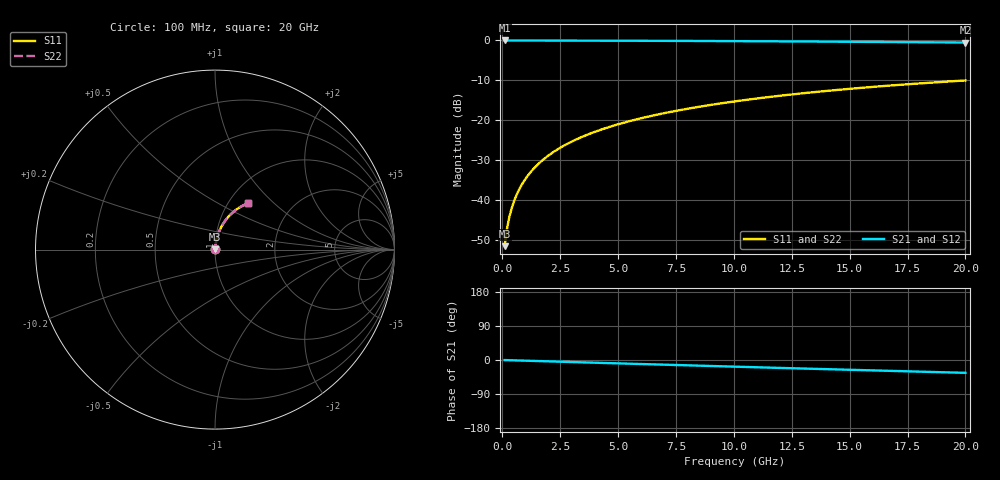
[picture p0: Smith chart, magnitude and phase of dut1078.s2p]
! Touchstone file exported from HFSS 2026.1.0
!  File:  C:/ffzhzh/LocalFiles/Ansys_Project_Files/temp_train_TMRDL_1078_1783160864_18472.aedt
!  Generated:  06:28:57 PM Jul  4, 2026
!  Design:  TMRDL
!  Project:  temp_train_TMRDL_1078_1783160864_18472
! Variables:
!  h_bsmrdl = 2um
!  h_ox = 20um
!  h_rdl = 5um
!  h_sub = 80um
!  h_tmrdl = 4.15um
!  h_tsv = 80um
!  h_via = 3um
!  l_bsmrdl = 300um
!  l_sub = 872.92um
!  l_tmrdl = 472.92um
!  m_sub = 200um
!  pitch = 55.41um
!  r_tsv = 6um
!  s_tmrdl = 10um
!  w_bsmrdl = 18um
!  w_sub = 500um
!  w_tmrdl = 25.96um
!  x_tsv_center1 = 485.9um
!  x_tsv_center2 = 803.9um
!  x_tsv_center3 = 1302.78um
!  x_tsv_center4 = 1620.78um
!  x_tsv_center5 = 2119.66um
!  x_tsv_center6 = 2437.66um
# GHz S MA R 50.000000
! Terminal data exported
! Port[1] = TM_RDL1_1_T1
! Port[2] = TM_RDL1_1_T2
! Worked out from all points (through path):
!   200 points, 100 MHz to 20 GHz, reference 50 ohm
!   highest |S21| = -0.02 dB at 100 MHz (marker M1); lowest = -0.5 dB at 20 GHz (marker M2)
!   group delay of S21, straight-line fit = 4.7 ps
!   lowest |S11| = -51.5 dB at 100 MHz (marker M3), VSWR 1.01, Z = 50.2 + j0.199 ohm
!   |S11| at or under -10 dB: start of sweep to end of sweep
!   |S22| runs from -51.5 to -10.0 dB; largest |S21 - S12| = 2.4e-15
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0.1  0.002656 48.2  0.9982 -0.2  0.9982 -0.2  0.002656 48.2
! Gamma 0 0 0 0
! Port Impedance 50 0 50 0
0.2  0.004327 63.8  0.9981 -0.4  0.9981 -0.4  0.004327 63.8
0.3  0.006076 70.3  0.998 -0.6  0.998 -0.6  0.006077 70.3
0.4  0.007829 73.8  0.9979 -0.7  0.9979 -0.7  0.007829 73.8
0.5  0.009585 76.1  0.9978 -0.9  0.9978 -0.9  0.009585 76.1
0.7  0.01312 78.9  0.9977 -1.3  0.9977 -1.3  0.01312 78.9
0.8  0.01489 79.8  0.9977 -1.5  0.9977 -1.5  0.01489 79.8
1  0.01846 80.9  0.9975 -1.8  0.9975 -1.8  0.01846 80.9
1.2  0.02203 81.6  0.9974 -2.2  0.9974 -2.2  0.02203 81.6
1.4  0.02562 82.0  0.9973 -2.5  0.9973 -2.5  0.02562 82.0
1.7  0.03099 82.2  0.997 -3.1  0.997 -3.1  0.03099 82.2
2  0.03636 82.2  0.9967 -3.6  0.9967 -3.6  0.03636 82.2
2.7  0.04884 81.7  0.9959 -4.9  0.9959 -4.9  0.04884 81.7
3.5  0.06298 80.8  0.9948 -6.3  0.9948 -6.3  0.06299 80.8
4.2  0.07523 79.7  0.9936 -7.5  0.9936 -7.5  0.07523 79.7
5  0.08907 78.5  0.992 -8.9  0.992 -8.9  0.08908 78.5
6.8  0.1196 75.6  0.988 -12.1  0.988 -12.1  0.1196 75.6
8.3  0.1444 73.2  0.9841 -14.6  0.9841 -14.6  0.1444 73.2
10.1  0.1734 70.3  0.9788 -17.7  0.9788 -17.7  0.1734 70.3
13.4  0.2242 65.0  0.9677 -23.2  0.9677 -23.2  0.2242 65.0
16.7  0.2716 59.8  0.9549 -28.6  0.9549 -28.6  0.2716 59.8
20  0.3152 54.7  0.9411 -33.9  0.9411 -33.9  0.3152 54.7
